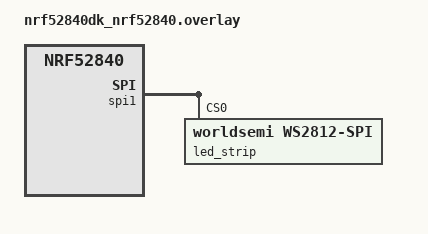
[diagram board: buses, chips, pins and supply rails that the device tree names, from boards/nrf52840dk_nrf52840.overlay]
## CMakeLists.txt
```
#
# Copyright (c) 2018 Nordic Semiconductor
#
# SPDX-License-Identifier: LicenseRef-Nordic-5-Clause
#
cmake_minimum_required(VERSION 3.20.0)

find_package(Zephyr REQUIRED HINTS $ENV{ZEPHYR_BASE})
project(peripheral_uart)

# NORDIC SDK APP START
target_sources(app PRIVATE
  src/main.c
  src/thread_ledctrl.c
  src/led_animation.c
)

# Include UART ASYNC API adapter
target_sources_ifdef(CONFIG_BT_NUS_UART_ASYNC_ADAPTER app PRIVATE
  src/uart_async_adapter.c
)

# NORDIC SDK APP END

zephyr_library_include_directories(.)
```

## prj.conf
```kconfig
#
# Copyright (c) 2018 Nordic Semiconductor
#
# SPDX-License-Identifier: LicenseRef-Nordic-5-Clause
#

# Enable the UART driver
CONFIG_UART_ASYNC_API=y
CONFIG_NRFX_UARTE0=y
CONFIG_SERIAL=y

CONFIG_GPIO=y

# Make sure printk is printing to the UART console
CONFIG_CONSOLE=y
CONFIG_UART_CONSOLE=y

CONFIG_HEAP_MEM_POOL_SIZE=2048

CONFIG_BT=y
CONFIG_BT_PERIPHERAL=y
CONFIG_BT_DEVICE_NAME="Nordic_UART_Service"
CONFIG_BT_MAX_CONN=1
CONFIG_BT_MAX_PAIRED=1

# Enable the NUS service
CONFIG_BT_NUS=y

# Enable bonding
CONFIG_BT_SETTINGS=y
CONFIG_FLASH=y
CONFIG_FLASH_PAGE_LAYOUT=y
CONFIG_FLASH_MAP=y
CONFIG_NVS=y
CONFIG_SETTINGS=y

# Enable DK LED and Buttons library
CONFIG_DK_LIBRARY=y

# This example requires more stack
CONFIG_MAIN_STACK_SIZE=1152
CONFIG_SYSTEM_WORKQUEUE_STACK_SIZE=2048

# Config logger
CONFIG_LOG=y
CONFIG_USE_SEGGER_RTT=y
CONFIG_LOG_BACKEND_RTT=y
CONFIG_LOG_BACKEND_UART=n
CONFIG_LOG_PRINTK=n

CONFIG_ASSERT=y

#led strip
CONFIG_LED_STRIP=y
CONFIG_LED_STRIP_LOG_LEVEL_DBG=y
CONFIG_WS2812_STRIP=y
CONFIG_SPI=y

CONFIG_EVENTS=y
```

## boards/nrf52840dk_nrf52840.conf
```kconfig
CONFIG_SPI=y

# This driver only uses spi_write() with the SPIM instance it allocates,
# so PAN 58 doesn't matter, because the RX length is always 0.
```

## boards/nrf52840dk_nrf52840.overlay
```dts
/*
 * Copyright (c) 2019, Nordic Semiconductor ASA
 *
 * SPDX-License-Identifier: Apache-2.0
 */

#include <zephyr/dt-bindings/led/led.h>

#include "../nrf52-bindings.h"

&spi1 {/* MOSI on D11 / P0.23 */
	compatible = "nordic,nrf-spim";
	led_strip: ws2812@0 {
		compatible = "worldsemi,ws2812-spi";

		/* SPI */
		reg = <0>; /* ignored, but necessary for SPI bindings */
		spi-max-frequency = <SPI_FREQ>;

		/* WS2812 */
		chain-length = <26>; /* arbitrary; change at will */
		color-mapping = <LED_COLOR_ID_GREEN
		LED_COLOR_ID_RED
		LED_COLOR_ID_BLUE>;
		spi-one-frame = <ONE_FRAME>;
		spi-zero-frame = <ZERO_FRAME>;
	};
};

/ {
	aliases {
		led-strip = &led_strip;
	};

};
```

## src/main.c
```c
/*
 * Copyright (c) 2018 Nordic Semiconductor ASA
 *
 * SPDX-License-Identifier: LicenseRef-Nordic-5-Clause
 */

/** @file
 *  @brief Nordic UART Bridge Service (NUS) sample
 */
#include "uart_async_adapter.h"

#include <zephyr/types.h>
#include <zephyr/kernel.h>
#include <zephyr/drivers/uart.h>
#include <zephyr/usb/usb_device.h>

#include <zephyr/device.h>
#include <zephyr/devicetree.h>
#include <soc.h>

#include <zephyr/bluetooth/bluetooth.h>
#include <zephyr/bluetooth/uuid.h>
#include <zephyr/bluetooth/gatt.h>
#include <zephyr/bluetooth/hci.h>

#include <bluetooth/services/nus.h>

#include <dk_buttons_and_leds.h>

#include <zephyr/settings/settings.h>

#include <stdio.h>

#include <zephyr/logging/log.h>
#include "led_animation.h"

#define LOG_MODULE_NAME peripheral_uart
LOG_MODULE_REGISTER(LOG_MODULE_NAME);

#define STACKSIZE CONFIG_BT_NUS_THREAD_STACK_SIZE
#define PRIORITY 7

#define DEVICE_NAME CONFIG_BT_DEVICE_NAME
#define DEVICE_NAME_LEN (sizeof(DEVICE_NAME) - 1)

#define RUN_STATUS_LED DK_LED1
#define RUN_LED_BLINK_INTERVAL 1000

#define CON_STATUS_LED DK_LED2

#define KEY_PASSKEY_ACCEPT DK_BTN1_MSK
#define KEY_PASSKEY_REJECT DK_BTN2_MSK

#define UART_BUF_SIZE CONFIG_BT_NUS_UART_BUFFER_SIZE
#define UART_WAIT_FOR_BUF_DELAY K_MSEC(50)
#define UART_WAIT_FOR_RX CONFIG_BT_NUS_UART_RX_WAIT_TIME

extern k_tid_t my_tid;
extern struct k_event bt_events;
extern struct led_strip strip_srct;

static K_SEM_DEFINE(ble_init_ok, 0, 1);

static struct bt_conn *current_conn;
static struct bt_conn *auth_conn;

static const struct device *uart = DEVICE_DT_GET(DT_CHOSEN(nordic_nus_uart));
static struct k_work_delayable uart_work;

struct uart_data_t
{
	void *fifo_reserved;
	uint8_t data[UART_BUF_SIZE];
	uint16_t len;
};

static K_FIFO_DEFINE(fifo_uart_tx_data);
static K_FIFO_DEFINE(fifo_uart_rx_data);

static const struct bt_data ad[] = {
	BT_DATA_BYTES(BT_DATA_FLAGS, (BT_LE_AD_GENERAL | BT_LE_AD_NO_BREDR)),
	BT_DATA(BT_DATA_NAME_COMPLETE, DEVICE_NAME, DEVICE_NAME_LEN),
};

static const struct bt_data sd[] = {
	BT_DATA_BYTES(BT_DATA_UUID128_ALL, BT_UUID_NUS_VAL),
};

#if CONFIG_BT_NUS_UART_ASYNC_ADAPTER
UART_ASYNC_ADAPTER_INST_DEFINE(async_adapter);
#else
static const struct device *const async_adapter;
#endif

static void uart_cb(const struct device *dev, struct uart_event *evt, void *user_data)
{
	ARG_UNUSED(dev);

	static size_t aborted_len;
	struct uart_data_t *buf;
	static uint8_t *aborted_buf;
	static bool disable_req;

	switch (evt->type)
	{
	case UART_TX_DONE:
		LOG_DBG("UART_TX_DONE");
		if ((evt->data.tx.len == 0) ||
			(!evt->data.tx.buf))
		{
			return;
		}

		if (aborted_buf)
		{
			buf = CONTAINER_OF(aborted_buf, struct uart_data_t,
							   data[0]);
			aborted_buf = NULL;
			aborted_len = 0;
		}
		else
		{
			buf = CONTAINER_OF(evt->data.tx.buf, struct uart_data_t,
							   data[0]);
		}

		k_free(buf);

		buf = k_fifo_get(&fifo_uart_tx_data, K_NO_WAIT);
		if (!buf)
		{
			return;
		}

		if (uart_tx(uart, buf->data, buf->len, SYS_FOREVER_MS))
		{
			LOG_WRN("Failed to send data over UART");
		}

		break;

	case UART_RX_RDY:
		LOG_DBG("UART_RX_RDY");
		buf = CONTAINER_OF(evt->data.rx.buf, struct uart_data_t, data[0]);
		buf->len += evt->data.rx.len;

		if (disable_req)
		{
			return;
		}

		if ((evt->data.rx.buf[buf->len - 1] == '\n') ||
			(evt->data.rx.buf[buf->len - 1] == '\r'))
		{
			disable_req = true;
			uart_rx_disable(uart);
		}

		break;

	case UART_RX_DISABLED:
		LOG_DBG("UART_RX_DISABLED");
		disable_req = false;

		buf = k_malloc(sizeof(*buf));
		if (buf)
		{
			buf->len = 0;
		}
		else
		{
			LOG_WRN("Not able to allocate UART receive buffer");
			k_work_reschedule(&uart_work, UART_WAIT_FOR_BUF_DELAY);
			return;
		}

		uart_rx_enable(uart, buf->data, sizeof(buf->data),
					   UART_WAIT_FOR_RX);

		break;

	case UART_RX_BUF_REQUEST:
		LOG_DBG("UART_RX_BUF_REQUEST");
		buf = k_malloc(sizeof(*buf));
		if (buf)
		{
			buf->len = 0;
			uart_rx_buf_rsp(uart, buf->data, sizeof(buf->data));
		}
		else
		{
			LOG_WRN("Not able to allocate UART receive buffer");
		}

		break;

	case UART_RX_BUF_RELEASED:
		LOG_DBG("UART_RX_BUF_RELEASED");
		buf = CONTAINER_OF(evt->data.rx_buf.buf, struct uart_data_t,
						   data[0]);

		if (buf->len > 0)
		{
			k_fifo_put(&fifo_uart_rx_data, buf);
		}
		else
		{
			k_free(buf);
		}

		break;

	case UART_TX_ABORTED:
		LOG_DBG("UART_TX_ABORTED");
		if (!aborted_buf)
		{
			aborted_buf = (uint8_t *)evt->data.tx.buf;
		}

		aborted_len += evt->data.tx.len;
		buf = CONTAINER_OF((void *)aborted_buf, struct uart_data_t,
						   data);

		uart_tx(uart, &buf->data[aborted_len],
				buf->len - aborted_len, SYS_FOREVER_MS);

		break;

	default:
		break;
	}
}

static void uart_work_handler(struct k_work *item)
{
	struct uart_data_t *buf;

	buf = k_malloc(sizeof(*buf));
	if (buf)
	{
		buf->len = 0;
	}
	else
	{
		LOG_WRN("Not able to allocate UART receive buffer");
		k_work_reschedule(&uart_work, UART_WAIT_FOR_BUF_DELAY);
		return;
	}

	uart_rx_enable(uart, buf->data, sizeof(buf->data), UART_WAIT_FOR_RX);
}

static bool uart_test_async_api(const struct device *dev)
{
	const struct uart_driver_api *api =
		(const struct uart_driver_api *)dev->api;

	return (api->callback_set != NULL);
}

static int uart_init(void)
{
	int err;
	int pos;
	struct uart_data_t *rx;
	struct uart_data_t *tx;

	if (!device_is_ready(uart))
	{
		return -ENODEV;
	}

	if (IS_ENABLED(CONFIG_USB_DEVICE_STACK))
	{
		err = usb_enable(NULL);
		if (err && (err != -EALREADY))
		{
			LOG_ERR("Failed to enable USB");
			return err;
		}
	}

	rx = k_malloc(sizeof(*rx));
	if (rx)
	{
		rx->len = 0;
	}
	else
	{
		return -ENOMEM;
	}

	k_work_init_delayable(&uart_work, uart_work_handler);

	if (IS_ENABLED(CONFIG_BT_NUS_UART_ASYNC_ADAPTER) && !uart_test_async_api(uart))
	{
		/* Implement API adapter */
		uart_async_adapter_init(async_adapter, uart);
		uart = async_adapter;
	}

	err = uart_callback_set(uart, uart_cb, NULL);
	if (err)
	{
		k_free(rx);
		LOG_ERR("Cannot initialize UART callback");
		return err;
	}

	if (IS_ENABLED(CONFIG_UART_LINE_CTRL))
	{
		LOG_INF("Wait for DTR");
		while (true)
		{
			uint32_t dtr = 0;

			uart_line_ctrl_get(uart, UART_LINE_CTRL_DTR, &dtr);
			if (dtr)
			{
				break;
			}
			/* Give CPU resources to low priority threads. */
			k_sleep(K_MSEC(100));
		}
		LOG_INF("DTR set");
		err = uart_line_ctrl_set(uart, UART_LINE_CTRL_DCD, 1);
		if (err)
		{
			LOG_WRN("Failed to set DCD, ret code %d", err);
		}
		err = uart_line_ctrl_set(uart, UART_LINE_CTRL_DSR, 1);
		if (err)
		{
			LOG_WRN("Failed to set DSR, ret code %d", err);
		}
	}

	tx = k_malloc(sizeof(*tx));

	if (tx)
	{
		pos = snprintf(tx->data, sizeof(tx->data),
					   "Starting Nordic UART service example\r\n");

		if ((pos < 0) || (pos >= sizeof(tx->data)))
		{
			k_free(rx);
			k_free(tx);
			LOG_ERR("snprintf returned %d", pos);
			return -ENOMEM;
		}

		tx->len = pos;
	}
	else
	{
		k_free(rx);
		return -ENOMEM;
	}

	err = uart_tx(uart, tx->data, tx->len, SYS_FOREVER_MS);
	if (err)
	{
		k_free(rx);
		k_free(tx);
		LOG_ERR("Cannot display welcome message (err: %d)", err);
		return err;
	}

	err = uart_rx_enable(uart, rx->data, sizeof(rx->data), UART_WAIT_FOR_RX);
	if (err)
	{
		LOG_ERR("Cannot enable uart reception (err: %d)", err);
		/* Free the rx buffer only because the tx buffer will be handled in the callback */
		k_free(rx);
	}

	return err;
}

static void connected(struct bt_conn *conn, uint8_t err)
{
	char addr[BT_ADDR_LE_STR_LEN];

	if (err)
	{
		LOG_ERR("Connection failed (err %u)", err);
		return;
	}

	bt_addr_le_to_str(bt_conn_get_dst(conn), addr, sizeof(addr));
	LOG_INF("Connected %s", addr);

	current_conn = bt_conn_ref(conn);

	dk_set_led_on(CON_STATUS_LED);
	// use zbus to send stat
}

static void disconnected(struct bt_conn *conn, uint8_t reason)
{
	char addr[BT_ADDR_LE_STR_LEN];

	bt_addr_le_to_str(bt_conn_get_dst(conn), addr, sizeof(addr));

	LOG_INF("Disconnected: %s (reason %u)", addr, reason);

	if (auth_conn)
	{
		bt_conn_unref(auth_conn);
		auth_conn = NULL;
	}

	if (current_conn)
	{
		bt_conn_unref(current_conn);
		current_conn = NULL;
		dk_set_led_off(CON_STATUS_LED);
		// use zbus to send stat
	}
}

#ifdef CONFIG_BT_NUS_SECURITY_ENABLED
static void security_changed(struct bt_conn *conn, bt_security_t level,
							 enum bt_security_err err)
{
	char addr[BT_ADDR_LE_STR_LEN];

	bt_addr_le_to_str(bt_conn_get_dst(conn), addr, sizeof(addr));

	if (!err)
	{
		LOG_INF("Security changed: %s level %u", addr, level);
	}
	else
	{
		LOG_WRN("Security failed: %s level %u err %d", addr,
				level, err);
	}
}
#endif

BT_CONN_CB_DEFINE(conn_callbacks) = {
	.connected = connected,
	.disconnected = disconnected,
#ifdef CONFIG_BT_NUS_SECURITY_ENABLED
	.security_changed = security_changed,
#endif
};

#if defined(CONFIG_BT_NUS_SECURITY_ENABLED)
static void auth_passkey_display(struct bt_conn *conn, unsigned int passkey)
{
	char addr[BT_ADDR_LE_STR_LEN];

	bt_addr_le_to_str(bt_conn_get_dst(conn), addr, sizeof(addr));

	LOG_INF("Passkey for %s: %06u", addr, passkey);
}

static void auth_passkey_confirm(struct bt_conn *conn, unsigned int passkey)
{
	char addr[BT_ADDR_LE_STR_LEN];

	auth_conn = bt_conn_ref(conn);

	bt_addr_le_to_str(bt_conn_get_dst(conn), addr, sizeof(addr));

	LOG_INF("Passkey for %s: %06u", addr, passkey);
	LOG_INF("Press Button 1 to confirm, Button 2 to reject.");
}

static void auth_cancel(struct bt_conn *conn)
{
	char addr[BT_ADDR_LE_STR_LEN];

	bt_addr_le_to_str(bt_conn_get_dst(conn), addr, sizeof(addr));

	LOG_INF("Pairing cancelled: %s", addr);
}

static void pairing_complete(struct bt_conn *conn, bool bonded)
{
	char addr[BT_ADDR_LE_STR_LEN];

	bt_addr_le_to_str(bt_conn_get_dst(conn), addr, sizeof(addr));

	LOG_INF("Pairing completed: %s, bonded: %d", addr, bonded);
}

static void pairing_failed(struct bt_conn *conn, enum bt_security_err reason)
{
	char addr[BT_ADDR_LE_STR_LEN];

	bt_addr_le_to_str(bt_conn_get_dst(conn), addr, sizeof(addr));

	LOG_INF("Pairing failed conn: %s, reason %d", addr, reason);
}

static struct bt_conn_auth_cb conn_auth_callbacks = {
	.passkey_display = auth_passkey_display,
	.passkey_confirm = auth_passkey_confirm,
	.cancel = auth_cancel,
};

static struct bt_conn_auth_info_cb conn_auth_info_callbacks = {
	.pairing_complete = pairing_complete,
	.pairing_failed = pairing_failed};
#else
static struct bt_conn_auth_cb conn_auth_callbacks;
static struct bt_conn_auth_info_cb conn_auth_info_callbacks;
#endif

static void bt_receive_cb(struct bt_conn *conn, const uint8_t *const data,
						  uint16_t len)
{
	int err;
	char addr[BT_ADDR_LE_STR_LEN] = {0};

	bt_addr_le_to_str(bt_conn_get_dst(conn), addr, ARRAY_SIZE(addr));

	LOG_INF("Received data from: %s", addr);

	for (uint16_t pos = 0; pos != len;)
	{
		struct uart_data_t *tx = k_malloc(sizeof(*tx));

		if (!tx)
		{
			LOG_WRN("Not able to allocate UART send data buffer");
			return;
		}

		/* Keep the last byte of TX buffer for potential LF char. */
		size_t tx_data_size = sizeof(tx->data) - 1;

		if ((len - pos) > tx_data_size)
		{
			tx->len = tx_data_size;
		}
		else
		{
			tx->len = (len - pos);
		}

		memcpy(tx->data, &data[pos], tx->len);

		pos += tx->len;

		/* Append the LF character when the CR character triggered
		 * transmission from the peer.
		 */
		if ((pos == len) && (data[len - 1] == '\r'))
		{
			tx->data[tx->len] = '\n';
			tx->len++;
		}

		err = uart_tx(uart, tx->data, tx->len, SYS_FOREVER_MS);
		if (err)
		{
			k_fifo_put(&fifo_uart_tx_data, tx);
		}
	}
}

static struct bt_nus_cb nus_cb = {
	.received = bt_receive_cb,
};

void error(void)
{
	dk_set_leds_state(DK_ALL_LEDS_MSK, DK_NO_LEDS_MSK);

	while (true)
	{
		/* Spin for ever */
		k_sleep(K_MSEC(1000));
	}
}

#ifdef CONFIG_BT_NUS_SECURITY_ENABLED
static void num_comp_reply(bool accept)
{
	if (accept)
	{
		bt_conn_auth_passkey_confirm(auth_conn);
		LOG_INF("Numeric Match, conn %p", (void *)auth_conn);
	}
	else
	{
		bt_conn_auth_cancel(auth_conn);
		LOG_INF("Numeric Reject, conn %p", (void *)auth_conn);
	}

	bt_conn_unref(auth_conn);
	auth_conn = NULL;
}

void button_changed(uint32_t button_state, uint32_t has_changed)
{
	uint32_t buttons = button_state & has_changed;

	if (auth_conn)
	{
		if (buttons & KEY_PASSKEY_ACCEPT)
		{
			num_comp_reply(true);
		}

		if (buttons & KEY_PASSKEY_REJECT)
		{
			num_comp_reply(false);
		}
	}
}
#endif /* CONFIG_BT_NUS_SECURITY_ENABLED */

static void configure_gpio(void)
{
	int err;

#ifdef CONFIG_BT_NUS_SECURITY_ENABLED
	err = dk_buttons_init(button_changed);
	if (err)
	{
		LOG_ERR("Cannot init buttons (err: %d)", err);
	}
#endif /* CONFIG_BT_NUS_SECURITY_ENABLED */

	err = dk_leds_init();
	if (err)
	{
		LOG_ERR("Cannot init LEDs (err: %d)", err);
	}
}

int main(void)
{
	int blink_status = 0;
	int err = 0;

	configure_gpio();

	err = uart_init();
	if (err)
	{
		error();
	}

	if (IS_ENABLED(CONFIG_BT_NUS_SECURITY_ENABLED))
	{
		err = bt_conn_auth_cb_register(&conn_auth_callbacks);
		if (err)
		{
			printk("Failed to register authorization callbacks.\n");
			return 0;
		}

		err = bt_conn_auth_info_cb_register(&conn_auth_info_callbacks);
		if (err)
		{
			printk("Failed to register authorization info callbacks.\n");
			return 0;
		}
	}

	err = bt_enable(NULL);
	if (err)
	{
		error();
	}

	LOG_INF("Bluetooth initialized");

	k_sem_give(&ble_init_ok);

	if (IS_ENABLED(CONFIG_SETTINGS))
	{
		settings_load();
	}

	err = bt_nus_init(&nus_cb);
	if (err)
	{
		LOG_ERR("Failed to initialize UART service (err: %d)", err);
		return 0;
	}

	err = bt_le_adv_start(BT_LE_ADV_CONN, ad, ARRAY_SIZE(ad), sd,
						  ARRAY_SIZE(sd));
	if (err)
	{
		LOG_ERR("Advertising failed to start (err %d)", err);
		return 0;
	}
	k_event_set(&bt_events, 0x002); // event for bt connecte

	for (;;)
	{
		dk_set_led(RUN_STATUS_LED, (++blink_status) % 2);
		k_sleep(K_MSEC(RUN_LED_BLINK_INTERVAL));
	}
}

void ble_write_thread(void)
{
	/* Don't go any further until BLE is initialized */
	k_sem_take(&ble_init_ok, K_FOREVER);

	for (;;)
	{
		/* Wait indefinitely for data to be sent over bluetooth */
		struct uart_data_t *buf = k_fifo_get(&fifo_uart_rx_data,
											 K_FOREVER);

		if (bt_nus_send(NULL, buf->data, buf->len))
		{
			LOG_WRN("Failed to send data over BLE connection");
		}

		k_free(buf);
	}
}

K_THREAD_DEFINE(ble_write_thread_id, STACKSIZE, ble_write_thread, NULL, NULL,
				NULL, PRIORITY, 0, 0);
```

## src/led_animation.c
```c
/**
 * @file led_animation.c
 * @author Wimanshahb@gmail.com
 * @brief
 * @version 0.1
 * @date 2024-10-27
 *
 * @copyright Copyright (c) 2024
 *
 */

#include "led_animation.h"

int rc; // return code
// struct led_rgb rb_pixels[10];

// Function to generate a random color (RGB)

/**
 * @brief
 *
 * @return struct led_rgb
 */
static struct led_rgb random_color()
{
    struct led_rgb color;
    color.r = rand() % 256; // Random value between 0 and 255
    color.g = rand() % 256;
    color.b = rand() % 256;
    return color;
}

// Helper function to set LED color
/**
 * @brief Set the led color object
 *
 * @param strip
 * @param index
 * @param r
 * @param g
 * @param b
 */
static void set_led_color(struct led_strip *strip, size_t index, uint8_t r, uint8_t g, uint8_t b)
{
    if (index < strip->num_of_leds)
    {
        strip->led_rgb_array[index].r = r;
        strip->led_rgb_array[index].g = g;
        strip->led_rgb_array[index].b = b;
    }
}

/**
 * @brief
 *
 * @param led_strip_struct
 */
void display_pattern_all_off(struct led_strip led_strip_struct)
{
    size_t led_rgb_array_size = led_strip_struct.num_of_leds * sizeof(struct led_rgb);
    memset(led_strip_struct.led_rgb_array, 0x00, led_rgb_array_size); // clear the strip
    rc = led_strip_update_rgb(led_strip_struct.dev, led_strip_struct.led_rgb_array, led_strip_struct.num_of_leds);

    if (rc)
    {
        printk("couldn't update strip: %d\n", rc);
    }
}

/**
 * @brief
 *
 * @param pattern
 * @param len
 */
void display_pattern_mod(char *pattern, size_t len, struct led_strip led_strip_struct)
{

    for (int i = 0; i < len; i++)
    {
        size_t led_rgb_array_size = led_strip_struct.num_of_leds * sizeof(struct led_rgb);
        memset(led_strip_struct.led_rgb_array, 0x00, led_rgb_array_size); // clear the strip
        rc = led_strip_update_rgb(led_strip_struct.dev, led_strip_struct.led_rgb_array, led_strip_struct.num_of_leds);
        int index;

        // Map each character in the pattern to an index using the switch case
        switch (pattern[i])
        {
        case 'A':
            index = A;
            break;
        case 'B':
            index = B;
            break;
        case 'C':
            index = C;
            break;
        case 'D':
            index = D;
            break;
        case 'E':
            index = E;
            break;
        case 'F':
            index = F;
            break;
        case 'G':
            index = G;
            break;
        case 'H':
            index = H;
            break;
        case 'I':
            index = I;
            break;
        case 'J':
            index = J;
            break;
        case 'K':
            index = K;
            break;
        case 'L':
            index = L;
            break;
        case 'M':
            index = M;
            break;
        case 'N':
            index = N;
            break;
        case 'O':
            index = O;
            break;
        case 'P':
            index = P;
            break;
        case 'Q':
            index = Q;
            break;
        case 'R':
            index = R;
            break;
        case 'S':
            index = S;
            break;
        case 'T':
            index = T;
            break;
        case 'U':
            index = U;
            break;
        case 'V':
            index = V;
            break;
        case 'W':
            index = W;
            break;
        case 'X':
            index = X;
            break;
        case 'Y':
            index = Y;
            break;
        case 'Z':
            index = Z;
            break;
        default:
            printk("Invalid pattern character: %c\n", pattern[i]);
            continue; // Skip if invalid character
        }

        // Check if the index is valid for the LED strip size
        if (index >= 10)
        {
            printk("Invalid LED index: %d\n", index);
            continue;
        }

        // Clear the specific pixel
        memset(&led_strip_struct.led_rgb_array[index], 0x00, sizeof(struct led_rgb));

        // Set the pixel color from the colors array
        struct led_rgb rnd_clr = random_color();

        memcpy(&led_strip_struct.led_rgb_array[index], &rnd_clr, sizeof(struct led_rgb));

        // one at a time

        // Update the LED strip
        rc = led_strip_update_rgb(led_strip_struct.dev, led_strip_struct.led_rgb_array, 10);
        if (rc)
        {
            printk("Couldn't update strip: %d\n", rc);
        }

        // Sleep for the delay time
        k_sleep(DELAY_TIME);
        display_pattern_all_off(led_strip_struct);
    }
}

/**
 * @brief
 *
 * @param h
 * @param s
 * @param v
 * @return struct led_rgb
 */
struct led_rgb hsv_to_rgb(float h, float s, float v)
{
    float r = 0, g = 0, b = 0;
    int i = (int)(h * 6);
    float f = h * 6 - i;
    float p = v * (1 - s);
    float q = v * (1 - f * s);
    float t = v * (1 - (1 - f) * s);

    switch (i % 6)
    {
    case 0:
        r = v, g = t, b = p;
        break;
    case 1:
        r = q, g = v, b = p;
        break;
    case 2:
        r = p, g = v, b = t;
        break;
    case 3:
        r = p, g = q, b = v;
        break;
    case 4:
        r = t, g = p, b = v;
        break;
    case 5:
        r = v, g = p, b = q;
        break;
    }

    struct led_rgb color = {
        .r = (uint8_t)(r * 255), .g = (uint8_t)(g * 255), .b = (uint8_t)(b * 255)};
    return color;
}

/**
 * @brief
 *
 * @param num_leds
 * @param led_strip_struct
 */
void rainbow_sweep(size_t num_leds, struct led_strip led_strip_struct)
{
    const struct device *strip = led_strip_struct.dev;

    float starting_hue = 0.0; // Starting hue for the rainbow effect (0 to 1 range)

    // Full cycle: run indefinitely
    while (1)
    {
        for (size_t i = 0; i < num_leds; i++)
        {
            // Calculate the hue for each LED, spreading it across the entire strip
            float hue = (starting_hue + (float)i / num_leds) -
                        floor(starting_hue + (float)i / num_leds); // Wrap around 0-1

            // Convert the hue (with full saturation and brightness) to RGB
            led_strip_struct.led_rgb_array[i] = hsv_to_rgb(hue, 1.0, 1.0); // Full saturation and brightness
        }

        // Update the LED strip with the new colors
        rc = led_strip_update_rgb(strip, led_strip_struct.led_rgb_array, num_leds);
        if (rc)
        {
            printk("Couldn't update strip: %d", rc);
        }

        // Increment the starting hue to create the sweep effect
        starting_hue += 0.005 * SWEEP_SPEED;
        if (starting_hue > 1.0)
        {
            starting_hue -= 1.0; // Wrap around the hue value
        }

        // Delay for a smooth transition
        k_msleep(SWEEP_DELAY);
    }
}

/**
 * @brief
 *
 * @param num_leds
 * @param led_strip_struct
 */
void random_glitch(size_t num_leds, struct led_strip led_strip_struct)
{
    uint32_t time_now = k_uptime_get_32();
    struct led_rgb *rb_pixels = led_strip_struct.led_rgb_array;
    struct device *strip = led_strip_struct.dev;
    // Seed the random number generator
    srand(time_now);

    // Full cycle: run indefinitely
    while (1)
    {
        // Save the current state of the LEDs so we can restore them after the glitch
        struct led_rgb original_pixels[num_leds];
        memcpy(original_pixels, rb_pixels, sizeof(struct led_rgb) * num_leds);

        // Glitch a random number of LEDs
        for (int i = 0; i < GLITCH_INTENSITY; i++)
        {
            // Pick a random LED to glitch
            int rand_led = rand() % num_leds;

            // Assign a random color to the chosen LED
            rb_pixels[rand_led] = random_color();
        }

        // Update the LED strip with the new (glitched) state
        rc = led_strip_update_rgb(strip, rb_pixels, num_leds);
        if (rc)
        {
            printk("Couldn't update strip: %d", rc);
        }

        // Short delay for the glitch to be visible
        k_msleep(GLITCH_DURATION);

        // Restore the original state of the LEDs
        memcpy(rb_pixels, original_pixels, sizeof(struct led_rgb) * num_leds);

        // Update the LED strip to restore the original state
        rc = led_strip_update_rgb(strip, rb_pixels, num_leds);
        if (rc)
        {
            printk("Couldn't update strip: %d", rc);
        }

        // Random delay before the next glitch cycle
        k_msleep(GLITCH_DELAY + (rand() % 500)); // Adds randomness to the timing
    }
}

void breathing_pattern(size_t num_leds, size_t duration_ms, struct led_strip led_strip_struct)
{
    struct device *strip = led_strip_struct.dev;
    struct led_rgb *pixels = led_strip_struct.led_rgb_array;

    for (int step = 0; step < BREATHING_STEPS; step++)
    {
        // Calculate the brightness scaling factor using a sine wave pattern
        // The sine wave oscillates between 0.0 and 1.0
        // float brightness_factor = (sin((float)step / BREATHING_STEPS * 3.14) + 1) / 2;
        // float brightness_factor =
        //	(sin(2.0 * 3.1415 * (float)step / BREATHING_STEPS) + 1) / 2;
        float brightness_factor =
            (sin((2.0 * 3.14 * (float)step / BREATHING_STEPS) - (3.14 / 2)) + 1) / 2;

        // Apply the brightness to each LED in the strip
        for (size_t i = 0; i < num_leds; i++)
        {
            pixels[i].r = (uint8_t)(0 * brightness_factor);
            pixels[i].g = (uint8_t)(0 * brightness_factor);
            pixels[i].b = (uint8_t)(250 * brightness_factor);
        }
        printk("%f\n", brightness_factor);

        // Update the LED strip with the new pixel brightness
        rc = led_strip_update_rgb(strip, pixels, num_leds);
        if (rc)
        {
            printk("Couldn't update strip: %d", rc);
        }

        // Delay for a smooth transition (you can adjust this for breathing speed)
        k_msleep(BREATHING_PERIOD);
    }
}

/**
 * @brief
 *
 * @param strip
 * @param r
 * @param g
 * @param b
 * @param tail_length
 */
void comet_effect(struct led_strip strip, uint8_t r, uint8_t g, uint8_t b, size_t tail_length)
{
    display_pattern_all_off(strip); // Clear the strip initially

    for (size_t head = 0; head < strip.num_of_leds + tail_length; head++)
    {
        display_pattern_all_off(strip); // Clear the strip initially

        // Set the tail colors
        for (size_t t = 0; t < tail_length; t++)
        {
            int pos = head - t; // Position of tail section

            if (pos >= 0 && pos < strip.num_of_leds)
            {
                // Calculate fading effect for the tail
                uint8_t fade_factor = 255 - (255 / tail_length) * t;
                set_led_color(&strip, pos, r * fade_factor / 255, g * fade_factor / 255, b * fade_factor / 255);
            }
        }

        rc = led_strip_update_rgb(strip.dev, strip.led_rgb_array, strip.num_of_leds);
        k_msleep(25);
    }

    display_pattern_all_off(strip); // Clear the strip initially
    rc = led_strip_update_rgb(strip.dev, strip.led_rgb_array, strip.num_of_leds);
}

/**
 * @brief
 *
 * @param strip
 */
void firework_explosion(struct led_strip strip)
{
    // Clear the strip at the start
    display_pattern_all_off(strip); // Clear the strip initially
    rc = led_strip_update_rgb(strip.dev, strip.led_rgb_array, strip.num_of_leds);

    // Generate a random bright color for the explosion
    struct led_rgb explosion_color = random_color();

    // Calculate the middle position of the strip (assuming symmetrical explosion)
    int center = strip.num_of_leds / 2;

    // Loop through each expansion step
    for (int step = 0; step < EXPLOSION_STEPS; step++)
    {
        // Clear the strip for the new frame
        display_pattern_all_off(strip); // Clear the strip initially

        // Calculate the brightness factor for the current step (fades as it expands)
        uint8_t fade_factor = 255 - (255 / EXPLOSION_STEPS) * step;

        // Draw explosion expanding outwards from the center
        for (int offset = 0; offset <= step; offset++)
        {
            int left_pos = center - offset;
            int right_pos = center + offset;

            // Apply fading to the explosion color for both directions
            if (left_pos >= 0)
            {
                set_led_color(&strip, left_pos,
                              explosion_color.r * fade_factor / 255,
                              explosion_color.g * fade_factor / 255,
                              explosion_color.b * fade_factor / 255);
            }

            if (right_pos < strip.num_of_leds)
            {
                set_led_color(&strip, right_pos,
                              explosion_color.r * fade_factor / 255,
                              explosion_color.g * fade_factor / 255,
                              explosion_color.b * fade_factor / 255);
            }
        }

        // Update the LED strip and add delay for the next expansion step
        rc = led_strip_update_rgb(strip.dev, strip.led_rgb_array, strip.num_of_leds);
        k_msleep(20);
    }

    // Clear the strip at the end of the explosion
    display_pattern_all_off(strip); // Clear the strip initially
    rc = led_strip_update_rgb(strip.dev, strip.led_rgb_array, strip.num_of_leds);
}

/**
 * @brief
 *
 * @param strip
 */
void fire_flicker(struct led_strip strip)
{
    while (true)
    {
        for (size_t i = 0; i < strip.num_of_leds; i++)
        {
            // Randomly decide on flickering intensity
            uint8_t flicker = rand() % 100;           // Random value to control flickering
            uint8_t r = flicker + 150;                // Red with base brightness
            uint8_t g = (flicker < 50) ? flicker : 0; // Random green flicker
            uint8_t b = 0;                            // No blue for fire

            set_led_color(&strip, i, b, r, g);
            rc = led_strip_update_rgb(strip.dev, strip.led_rgb_array, strip.num_of_leds);
        }
        rc = led_strip_update_rgb(strip.dev, strip.led_rgb_array, strip.num_of_leds);
        k_msleep(50); // Adjust flicker speed
    }
}
```

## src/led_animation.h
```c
/**
 * @file led_animation.h
 * @author Wimanshahb@gmail.com
 * @brief
 * @version 0.1
 * @date 2024-10-27
 *
 * @copyright Copyright (c) 2024
 *
 */

#ifndef LED_ANIMATION_H
#define LED_ANIMATION_H

#include <zephyr/kernel.h>
#include <zephyr/drivers/led_strip.h>
#include <zephyr/device.h>
#include <zephyr/drivers/spi.h>
#include <zephyr/sys/util.h>
#include <math.h>
#include <stdlib.h>

#define MAX_BRIGHTNESS 255  // Maximum brightness for the LED
#define BREATHING_STEPS 100 // Number of steps in the breathing cycle
#define BREATHING_PERIOD 10 // Delay between updates (in milliseconds)

#define NUM_LEDS 26    // Total number of LEDs on the strip
#define SWEEP_SPEED 1  // Speed of the rainbow sweep (lower is faster)
#define SWEEP_DELAY 50 // Delay between updates (in milliseconds)

#define GLITCH_DURATION 50 // Duration for the glitch in milliseconds
#define GLITCH_DELAY 50    // Delay between glitch cycles in milliseconds
#define GLITCH_INTENSITY 6 // Number of LEDs to glitch at once

#define EXPLOSION_STEPS 15 // Number of expansion steps in the explosion

#define NUM_COLORS 3 // Number of colors in patterns

#define DELAY_TIME K_MSEC(2000)

enum HolidayMode
{
    HOLIDAY_CHRISTMAS,
    HOLIDAY_HALLOWEEN,
    HOLIDAY_FIREPLACE
};

#define A 0
#define B 1
#define C 2
#define D 3
#define E 4
#define F 5
#define G 6
#define H 7
#define I 16
#define J 15
#define K 14
#define L 13
#define M 12
#define N 11
#define O 10
#define P 9
#define Q 8
#define R 17
#define S 18
#define T 19
#define U 20
#define V 21
#define W 22
#define X 23
#define Y 24
#define Z 25

struct led_strip
{
    struct device *dev;
    size_t num_of_leds;
    struct led_rgb *led_rgb_array;
};

void display_pattern_mod(char *pattern, size_t len, struct led_strip led_strip_struct);
void display_pattern_all_off(struct led_strip led_strip_struct);
void random_glitch(size_t num_leds, struct led_strip led_Strip_struct);
void rainbow_sweep(size_t num_leds, struct led_strip led_strip_struct);
void comet_effect(struct led_strip strip, uint8_t r, uint8_t g, uint8_t b, size_t tail_length);
void firework_explosion(struct led_strip strip);
void fire_flicker(struct led_strip strip);

#endif
```

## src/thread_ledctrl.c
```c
#include <zephyr/kernel.h>
#include <zephyr/device.h>
#include <zephyr/drivers/spi.h>
#include <zephyr/sys/util.h>
#include "led_animation.h"
#include <zephyr/logging/log.h>

#define MY_STACK_SIZE 1024
#define MY_PRIORITY 5
#define LOG_LEVEL 4
LOG_MODULE_REGISTER(thread_led);

#define STRIP_NODE DT_ALIAS(led_strip)

struct device *const strip = DEVICE_DT_GET(STRIP_NODE);
#define STRIP_NUM_PIXELS DT_PROP(DT_ALIAS(led_strip), chain_length)

struct led_rgb pixels[STRIP_NUM_PIXELS];
K_EVENT_DEFINE(bt_events);

void my_entry_point(int unused1, int unused2, int unused3)
{

    struct led_strip strip_srct = {
        .dev = strip,
        .num_of_leds = STRIP_NUM_PIXELS,
        .led_rgb_array = pixels};

    // uint32_t events;

    if (device_is_ready(strip))
    {
        LOG_INF("Found LED strip device %s", strip->name);
    }
    else
    {
        LOG_ERR("LED strip device %s is not ready", strip->name);
        return;
    }

    display_pattern_all_off(strip_srct);
    while (1)
    {
        /* run glish in background*/
        // random_glitch(26, strip_srct);

        /* TESTING ONLY */
        // events = k_event_wait(&bt_events, 0x002, false, K_MSEC(100));
        // if (events == 0x002)
        // {
        //     breathing_pattern(STRIP_NUM_PIXELS, 500, strip_srct);
        //     printk("No input devices are available!");
        // }

        rainbow_sweep(26, strip_srct);
        // comet_effect(strip_srct, 0, 0, 255, 7);
        // comet_effect(strip_srct, 0, 255, 0, 7);
        // comet_effect(strip_srct, 255, 0, 0, 7);
        // firework_explosion(strip_srct);
        // breathing_pattern(STRIP_NUM_PIXELS, 1000, strip_srct);
        //fire_flicker(strip_srct);
        k_msleep(500);
    }
}

K_THREAD_DEFINE(my_tid, MY_STACK_SIZE,
                my_entry_point, NULL, NULL, NULL,
                MY_PRIORITY, 0, 0);
```
